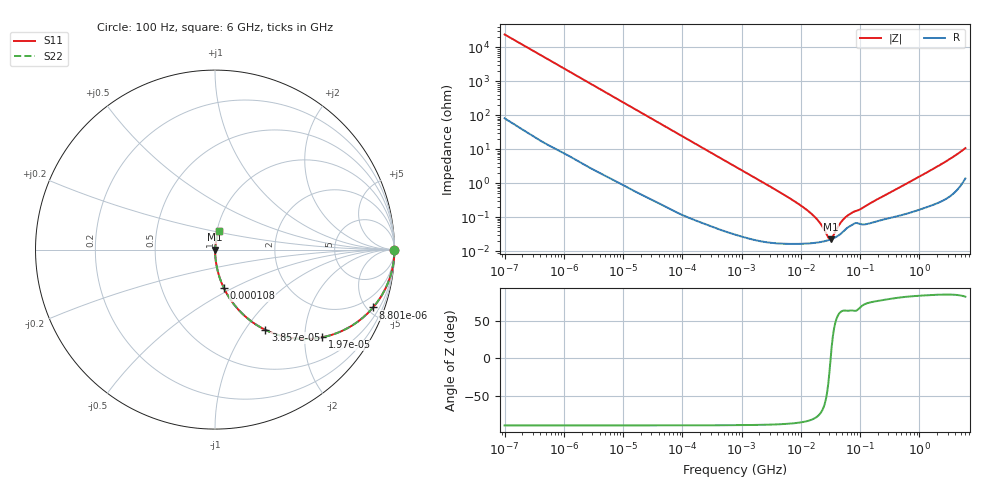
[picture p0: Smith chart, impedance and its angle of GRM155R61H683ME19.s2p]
!Murata Part Number: GRM155R61H683ME19
!These Parameters are Measured in Series Mode Connection
!Data Generated on Mar 30, 2021
!  o--ll--o
!Port1  Port2
!  o------o
!Operation Temp=25[degC], DC Bias Voltage=0[V]
!Freq. Start=100[Hz] Stop=6[GHz] 401[Steps]
# Hz S RI R 50
!Freq.(Hz) S11(Real) S11(Imag) S21(Real) S21(Imag) S12(Real) S12(Imag) S22(Real) S22(Imag)
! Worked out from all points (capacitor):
!   401 points, 100 Hz to 6 GHz, reference 50 ohm
!   read as one part in series: C = 66.9 nF near 109 Hz
!   lowest |Z| = 22.2 mohm at 31.85 MHz (marker M1)
!   series resonance near 31.86 MHz, so ESL is about 370 pH
!   S11 on the Smith chart (normalised r, x): 100 Hz: open; 8.801 kHz: 1.02, -5.45; 19.7 kHz: 1.01, -2.44; 38.57 kHz: 1.01, -1.25; 108 kHz: 1.00, -0.45; 6 GHz: 1.03, +0.21
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100  1 -0.00421  3.21e-05 0.00421  3.21e-05 0.00421  1 -0.00421
2008  0.9927 -0.0833  0.00727 0.0833  0.00727 0.0833  0.9927 -0.0833
4918  0.959 -0.1967  0.041 0.1967  0.041 0.1967  0.959 -0.1967
8801  0.8805 -0.3225  0.1195 0.3225  0.1195 0.3225  0.8805 -0.3225
19704  0.5977 -0.4884  0.4023 0.4884  0.4023 0.4884  0.5977 -0.4884
38569  0.2813 -0.4475  0.7187 0.4475  0.7187 0.4475  0.2813 -0.4475
40335  0.2637 -0.4385  0.7363 0.4385  0.7363 0.4385  0.2637 -0.4385
63115  0.1284 -0.3324  0.8716 0.3324  0.8716 0.3324  0.1284 -0.3324
108014  0.0485 -0.2124  0.9515 0.2124  0.9515 0.2124  0.0485 -0.2124
252896  0.00966 -0.0947  0.9903 0.0947  0.9903 0.0947  0.00966 -0.0947
774597  0.00129 -0.0313  0.9987 0.0313  0.9987 0.0313  0.00129 -0.0313
6644369  0.000176 -0.00351  0.9998 0.00351  0.9998 0.00351  0.000176 -0.00351
1.555665e7  0.000174 -0.00119  0.9998 0.00119  0.9998 0.00119  0.000174 -0.00119
2.128304e7  0.000185 -0.000635  0.9998 0.000635  0.9998 0.000635  0.000185 -0.000635
2.911731e7  0.00021 -0.000138  0.9998 0.000138  0.9998 0.000138  0.00021 -0.000138
3.184506e7  0.000222 -9e-07  0.9998 9e-07  0.9998 9e-07  0.000222 -9e-07
3.482834e7  0.000236 0.000137  0.9998 -0.000137  0.9998 -0.000137  0.000236 0.000137
4.764863e7  0.000329 0.000632  0.9997 -0.000632  0.9997 -0.000632  0.000329 0.000632
5.960426e7  0.000474 0.000961  0.9995 -0.000961  0.9995 -0.000961  0.000474 0.000961
3.124326e8  0.000967 0.0051  0.999 -0.0051  0.999 -0.0051  0.000967 0.0051
2.048624e9  0.00358 0.0312  0.9964 -0.0312  0.9964 -0.0312  0.00358 0.0312
6e9  0.0245 0.103  0.9755 -0.103  0.9755 -0.103  0.0245 0.103
